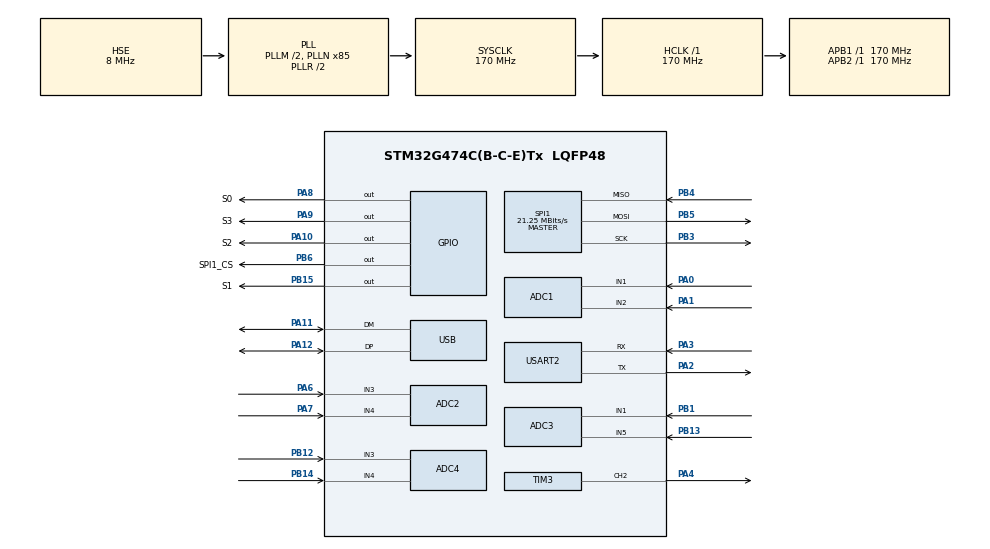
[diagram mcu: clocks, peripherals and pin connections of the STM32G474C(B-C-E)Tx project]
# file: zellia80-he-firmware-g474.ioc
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ADC1.Channel-0\#ChannelRegularConversion=ADC_CHANNEL_1
ADC1.Channel-1\#ChannelRegularConversion=ADC_CHANNEL_2
ADC1.ContinuousConvMode=ENABLE
ADC1.DMAContinuousRequests=ENABLE
ADC1.NbrOfConversion=2
ADC1.NbrOfConversionFlag=1
ADC1.OffsetNumber-0\#ChannelRegularConversion=ADC_OFFSET_NONE
ADC1.OffsetNumber-1\#ChannelRegularConversion=ADC_OFFSET_NONE
ADC1.Rank-0\#ChannelRegularConversion=1
ADC1.Rank-1\#ChannelRegularConversion=2
ADC1.SamplingTime-0\#ChannelRegularConversion=ADC_SAMPLETIME_92CYCLES_5
ADC1.SamplingTime-1\#ChannelRegularConversion=ADC_SAMPLETIME_92CYCLES_5
ADC1.master=1
ADC2.Channel-0\#ChannelRegularConversion=ADC_CHANNEL_3
ADC2.Channel-1\#ChannelRegularConversion=ADC_CHANNEL_4
ADC2.ContinuousConvMode=ENABLE
ADC2.DMAContinuousRequests=ENABLE
ADC2.NbrOfConversion=2
ADC2.NbrOfConversionFlag=1
ADC2.OffsetNumber-0\#ChannelRegularConversion=ADC_OFFSET_NONE
ADC2.OffsetNumber-1\#ChannelRegularConversion=ADC_OFFSET_NONE
ADC2.Rank-0\#ChannelRegularConversion=1
ADC2.Rank-1\#ChannelRegularConversion=2
ADC2.SamplingTime-0\#ChannelRegularConversion=ADC_SAMPLETIME_92CYCLES_5
ADC2.SamplingTime-1\#ChannelRegularConversion=ADC_SAMPLETIME_92CYCLES_5
ADC3.Channel-0\#ChannelRegularConversion=ADC_CHANNEL_1
ADC3.Channel-1\#ChannelRegularConversion=ADC_CHANNEL_5
ADC3.ContinuousConvMode=ENABLE
ADC3.DMAContinuousRequests=ENABLE
ADC3.NbrOfConversion=2
ADC3.NbrOfConversionFlag=1
ADC3.OffsetNumber-0\#ChannelRegularConversion=ADC_OFFSET_NONE
ADC3.OffsetNumber-1\#ChannelRegularConversion=ADC_OFFSET_NONE
ADC3.OversamplingMode=DISABLE
ADC3.Rank-0\#ChannelRegularConversion=1
ADC3.Rank-1\#ChannelRegularConversion=2
ADC3.SamplingTime-0\#ChannelRegularConversion=ADC_SAMPLETIME_92CYCLES_5
ADC3.SamplingTime-1\#ChannelRegularConversion=ADC_SAMPLETIME_92CYCLES_5
ADC3.master=1
ADC4.Channel-0\#ChannelRegularConversion=ADC_CHANNEL_3
ADC4.Channel-1\#ChannelRegularConversion=ADC_CHANNEL_4
ADC4.ContinuousConvMode=ENABLE
ADC4.DMAContinuousRequests=ENABLE
ADC4.NbrOfConversion=2
ADC4.NbrOfConversionFlag=1
ADC4.OffsetNumber-0\#ChannelRegularConversion=ADC_OFFSET_NONE
ADC4.OffsetNumber-1\#ChannelRegularConversion=ADC_OFFSET_NONE
ADC4.Rank-0\#ChannelRegularConversion=1
ADC4.Rank-1\#ChannelRegularConversion=2
ADC4.SamplingTime-0\#ChannelRegularConversion=ADC_SAMPLETIME_92CYCLES_5
ADC4.SamplingTime-1\#ChannelRegularConversion=ADC_SAMPLETIME_92CYCLES_5
Dma.ADC1.1.Direction=DMA_PERIPH_TO_MEMORY
Dma.ADC1.1.EventEnable=DISABLE
Dma.ADC1.1.Instance=DMA1_Channel2
Dma.ADC1.1.MemDataAlignment=DMA_MDATAALIGN_WORD
Dma.ADC1.1.MemInc=DMA_MINC_ENABLE
Dma.ADC1.1.Mode=DMA_CIRCULAR
Dma.ADC1.1.PeriphDataAlignment=DMA_PDATAALIGN_WORD
Dma.ADC1.1.PeriphInc=DMA_PINC_DISABLE
Dma.ADC1.1.Polarity=HAL_DMAMUX_REQ_GEN_RISING
Dma.ADC1.1.Priority=DMA_PRIORITY_VERY_HIGH
Dma.ADC1.1.RequestNumber=1
Dma.ADC1.1.SignalID=NONE
Dma.ADC1.1.SyncEnable=DISABLE
Dma.ADC1.1.SyncPolarity=HAL_DMAMUX_SYNC_NO_EVENT
Dma.ADC1.1.SyncRequestNumber=1
Dma.ADC1.1.SyncSignalID=NONE
Dma.ADC2.2.Direction=DMA_PERIPH_TO_MEMORY
Dma.ADC2.2.EventEnable=DISABLE
Dma.ADC2.2.Instance=DMA1_Channel3
Dma.ADC2.2.MemDataAlignment=DMA_MDATAALIGN_WORD
Dma.ADC2.2.MemInc=DMA_MINC_ENABLE
Dma.ADC2.2.Mode=DMA_CIRCULAR
Dma.ADC2.2.PeriphDataAlignment=DMA_PDATAALIGN_WORD
Dma.ADC2.2.PeriphInc=DMA_PINC_DISABLE
Dma.ADC2.2.Polarity=HAL_DMAMUX_REQ_GEN_RISING
Dma.ADC2.2.Priority=DMA_PRIORITY_VERY_HIGH
Dma.ADC2.2.RequestNumber=1
Dma.ADC2.2.SignalID=NONE
Dma.ADC2.2.SyncEnable=DISABLE
Dma.ADC2.2.SyncPolarity=HAL_DMAMUX_SYNC_NO_EVENT
Dma.ADC2.2.SyncRequestNumber=1
Dma.ADC2.2.SyncSignalID=NONE
Dma.ADC3.3.Direction=DMA_PERIPH_TO_MEMORY
Dma.ADC3.3.EventEnable=DISABLE
Dma.ADC3.3.Instance=DMA1_Channel4
Dma.ADC3.3.MemDataAlignment=DMA_MDATAALIGN_WORD
Dma.ADC3.3.MemInc=DMA_MINC_ENABLE
Dma.ADC3.3.Mode=DMA_CIRCULAR
Dma.ADC3.3.PeriphDataAlignment=DMA_PDATAALIGN_WORD
Dma.ADC3.3.PeriphInc=DMA_PINC_DISABLE
Dma.ADC3.3.Polarity=HAL_DMAMUX_REQ_GEN_RISING
Dma.ADC3.3.Priority=DMA_PRIORITY_VERY_HIGH
Dma.ADC3.3.RequestNumber=1
Dma.ADC3.3.SignalID=NONE
Dma.ADC3.3.SyncEnable=DISABLE
Dma.ADC3.3.SyncPolarity=HAL_DMAMUX_SYNC_NO_EVENT
Dma.ADC3.3.SyncRequestNumber=1
Dma.ADC3.3.SyncSignalID=NONE
Dma.ADC4.4.Direction=DMA_PERIPH_TO_MEMORY
Dma.ADC4.4.EventEnable=DISABLE
Dma.ADC4.4.Instance=DMA1_Channel5
Dma.ADC4.4.MemDataAlignment=DMA_MDATAALIGN_WORD
Dma.ADC4.4.MemInc=DMA_MINC_ENABLE
Dma.ADC4.4.Mode=DMA_CIRCULAR
Dma.ADC4.4.PeriphDataAlignment=DMA_PDATAALIGN_WORD
Dma.ADC4.4.PeriphInc=DMA_PINC_DISABLE
Dma.ADC4.4.Polarity=HAL_DMAMUX_REQ_GEN_RISING
Dma.ADC4.4.Priority=DMA_PRIORITY_VERY_HIGH
Dma.ADC4.4.RequestNumber=1
Dma.ADC4.4.SignalID=NONE
Dma.ADC4.4.SyncEnable=DISABLE
Dma.ADC4.4.SyncPolarity=HAL_DMAMUX_SYNC_NO_EVENT
Dma.ADC4.4.SyncRequestNumber=1
Dma.ADC4.4.SyncSignalID=NONE
Dma.Request0=TIM3_CH2
Dma.Request1=ADC1
Dma.Request2=ADC2
Dma.Request3=ADC3
Dma.Request4=ADC4
Dma.TIM3_CH2.0.Direction=DMA_MEMORY_TO_PERIPH
Dma.TIM3_CH2.0.EventEnable=DISABLE
Dma.TIM3_CH2.0.Instance=DMA1_Channel1
Dma.TIM3_CH2.0.MemDataAlignment=DMA_MDATAALIGN_BYTE
Dma.TIM3_CH2.0.MemInc=DMA_MINC_ENABLE
Dma.TIM3_CH2.0.Mode=DMA_CIRCULAR
Dma.TIM3_CH2.0.PeriphDataAlignment=DMA_PDATAALIGN_WORD
Dma.TIM3_CH2.0.PeriphInc=DMA_PINC_DISABLE
Dma.TIM3_CH2.0.Polarity=HAL_DMAMUX_REQ_GEN_RISING
Dma.TIM3_CH2.0.Priority=DMA_PRIORITY_LOW
Dma.TIM3_CH2.0.RequestNumber=1
Dma.TIM3_CH2.0.SignalID=NONE
Dma.TIM3_CH2.0.SyncEnable=DISABLE
Dma.TIM3_CH2.0.SyncPolarity=HAL_DMAMUX_SYNC_NO_EVENT
Dma.TIM3_CH2.0.SyncRequestNumber=1
Dma.TIM3_CH2.0.SyncSignalID=NONE
Mcu.Family=STM32G4
Mcu.Name=STM32G474C(B-C-E)Tx
Mcu.Package=LQFP48
NVIC.PriorityGroup=NVIC_PRIORITYGROUP_4
NVIC.TIM2_IRQn=true\:5\:0\:true\:false\:true\:true\:true\:true
NVIC.TIM7_DAC_IRQn=true\:7\:0\:true\:false\:true\:true\:true\:true
NVIC.USB_LP_IRQn=true\:0\:0\:false\:false\:true\:true\:true\:true
PA0.Mode=IN1-Single-Ended
PA0.Signal=ADC1_IN1
PA1.Mode=IN2-Single-Ended
PA1.Signal=ADC1_IN2
PA10.GPIO_Label=S2
PA10.Signal=GPIO_Output
PA11.Mode=Device
PA11.Signal=USB_DM
PA12.Mode=Device
PA12.Signal=USB_DP
PA13.Mode=Serial_Wire
PA13.Signal=SYS_JTMS-SWDIO
PA14.Mode=Serial_Wire
PA14.Signal=SYS_JTCK-SWCLK
PA2.Mode=Asynchronous
PA2.Signal=USART2_TX
PA3.Mode=Asynchronous
PA3.Signal=USART2_RX
PA4.GPIO_Speed=GPIO_SPEED_FREQ_HIGH
PA4.Signal=S_TIM3_CH2
PA6.Mode=IN3-Single-Ended
PA6.Signal=ADC2_IN3
PA7.Mode=IN4-Single-Ended
PA7.Signal=ADC2_IN4
PA8.GPIO_Label=S0
PA8.Signal=GPIO_Output
PA9.GPIO_Label=S3
PA9.Signal=GPIO_Output
PB1.Mode=IN1-Single-Ended
PB1.Signal=ADC3_IN1
PB12.Mode=IN3-Single-Ended
PB12.Signal=ADC4_IN3
PB13.Mode=IN5-Single-Ended
PB13.Signal=ADC3_IN5
PB14.Mode=IN4-Single-Ended
PB14.Signal=ADC4_IN4
PB15.GPIO_Label=S1
PB15.Signal=GPIO_Output
PB3.Mode=Full_Duplex_Master
PB3.Signal=SPI1_SCK
PB4.Mode=Full_Duplex_Master
PB4.Signal=SPI1_MISO
PB5.Mode=Full_Duplex_Master
PB5.Signal=SPI1_MOSI
PB6.GPIO_Label=SPI1_CS
PB6.Signal=GPIO_Output
PF0-OSC_IN.Mode=HSE-External-Oscillator
PF0-OSC_IN.Signal=RCC_OSC_IN
PF1-OSC_OUT.Mode=HSE-External-Oscillator
PF1-OSC_OUT.Signal=RCC_OSC_OUT
ProjectManager.HeapSize=0x200
ProjectManager.StackSize=0x400
ProjectManager.TargetToolchain=CMake
RCC.ADC12Freq_Value=170000000
RCC.ADC345Freq_Value=170000000
RCC.AHBFreq_Value=170000000
RCC.APB1Freq_Value=170000000
RCC.APB1TimFreq_Value=170000000
RCC.APB2Freq_Value=170000000
RCC.APB2TimFreq_Value=170000000
RCC.CK48CLockSelection=RCC_USBCLKSOURCE_HSI48
RCC.CortexFreq_Value=170000000
RCC.EXTERNAL_CLOCK_VALUE=12288000
RCC.HCLKFreq_Value=170000000
RCC.HSE_VALUE=8000000
RCC.HSI48_VALUE=48000000
RCC.HSI_VALUE=16000000
RCC.LSE_VALUE=32768
RCC.PLLM=RCC_PLLM_DIV2
RCC.PLLN=85
RCC.PLLQ=RCC_PLLQ_DIV4
RCC.PLLSourceVirtual=RCC_PLLSOURCE_HSE
RCC.SYSCLKFreq_VALUE=170000000
RCC.SYSCLKSource=RCC_SYSCLKSOURCE_PLLCLK
RCC.USBFreq_Value=48000000
RCC.VCOOutputFreq_Value=340000000
SH.S_TIM3_CH2.0=TIM3_CH2,PWM Generation2 CH2
SPI1.BaudRatePrescaler=SPI_BAUDRATEPRESCALER_8
SPI1.CLKPhase=SPI_PHASE_2EDGE
SPI1.CLKPolarity=SPI_POLARITY_HIGH
SPI1.CalculateBaudRate=21.25 MBits/s
SPI1.DataSize=SPI_DATASIZE_8BIT
SPI1.Direction=SPI_DIRECTION_2LINES
SPI1.Mode=SPI_MODE_MASTER
SPI1.VirtualType=VM_MASTER
TIM2.PeriodNoDither=5313-1
TIM3.AutoReloadPreload=TIM_AUTORELOAD_PRELOAD_DISABLE
TIM3.Channel-PWM\ Generation2\ CH2=TIM_CHANNEL_2
TIM3.Dithering=Disable
TIM3.OCFastMode_PWM-PWM\ Generation2\ CH2=TIM_OCFAST_ENABLE
TIM3.PeriodNoDither=213-1
TIM3.Prescaler=0
TIM7.PeriodNoDither=10-1
TIM7.Prescaler=17000-1
USART2.VirtualMode-Asynchronous=VM_ASYNC
VP_SYS_VS_DBSignals.Mode=DisableDeadBatterySignals
VP_TIM2_VS_ClockSourceINT.Mode=Internal
VP_TIM3_VS_ClockSourceINT.Mode=Internal
VP_TIM7_VS_ClockSourceINT.Mode=Enable_Timer
board=custom

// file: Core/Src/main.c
/* USER CODE BEGIN Header */
/**
  ******************************************************************************
  * @file           : main.c
  * @brief          : Main program body
  ******************************************************************************
  * @attention
  *
  * Copyright (c) 2025 STMicroelectronics.
  * All rights reserved.
  *
  * This software is licensed under terms that can be found in the LICENSE file
  * in the root directory of this software component.
  * If no LICENSE file comes with this software, it is provided AS-IS.
  *
  ******************************************************************************
  */
/* USER CODE END Header */
#include "main.h"
#include "adc.h"
#include "dma.h"
#include "spi.h"
#include "tim.h"
#include "usart.h"
#include "usb.h"
#include "gpio.h"

/* USER CODE BEGIN Includes */
#include "stdbool.h"
#include "stdlib.h"
#include "analog.h"
#include "rgb.h"
#include "keyboard.h"
#include "keyboard_conf.h"
#include "math.h"
#include "lfs.h"
#include "command.h"
#include "keyboard_def.h"
#include "usbd_user.h"
#include "command.h"
#include "packet.h"
#include "sfud.h"

/* USER CODE END Includes */

/* USER CODE BEGIN PD */
#define rgb_start() HAL_TIM_PWM_Start_DMA(&htim3, TIM_CHANNEL_2, (uint32_t *)g_rgb_buffer, RGB_BUFFER_LENGTH);
#define rgb_stop() HAL_TIM_PWM_Stop_DMA(&htim3, TIM_CHANNEL_2);

#define DMA_BUF_LEN             8
/* USER CODE END PD */

/* USER CODE BEGIN PV */
sfud_flash sfud_norflash0 = {
  .name = "norflash0",
  .spi.name = "SPI1",
  .chip = {"W25Q128JV", SFUD_MF_ID_WINBOND, 0x40, 0x18, 16L * 1024L * 1024L, SFUD_WM_PAGE_256B, 4096, 0x20},
};

uint32_t ADC_Buffer[4*DMA_BUF_LEN];
/* USER CODE END PV */

void SystemClock_Config(void);

/* USER CODE BEGIN 0 */

// 重定向print start
#if defined (__ARMCC_VERSION) /* ARM Compiler */
int fputc(int ch, FILE *f)
{
  while ((USART1->ISR & USART_ISR_TXE) == 0)
      ;
  USART1->TDR = ch;
  return ch;
}
#elif defined ( __GNUC__ ) && !defined (__CC_ARM) /* GNU Compiler */
//_write函數在syscalls.c中， 使用__weak定义以可以直接在其他文件中定义_write函數
__attribute__((weak)) int _write(int file, char *ptr, int len)
{
  UNUSED(file);
  if (HAL_UART_Transmit(&huart2, (uint8_t*)ptr, len, 0xffff) != HAL_OK)
  {
    Error_Handler();
  }
  return HAL_OK;
}
#endif
// 重定向print end

/**
 * @brief  初始化时间戳
 * @note   使用延时函数前，必须调用本函数
 */
int DWT_Init(void)
{
  /* Disable TRC */
  CoreDebug->DEMCR &= ~CoreDebug_DEMCR_TRCENA_Msk; // ~0x01000000;
  /* Enable TRC */
  CoreDebug->DEMCR |= CoreDebug_DEMCR_TRCENA_Msk; // 0x01000000;

  /* Disable clock cycle counter */
  DWT->CTRL &= ~DWT_CTRL_CYCCNTENA_Msk; //~0x00000001;
  /* Enable  clock cycle counter */
  DWT->CTRL |= DWT_CTRL_CYCCNTENA_Msk; // 0x00000001;

  /* Reset the clock cycle counter value */
  DWT->CYCCNT = 0;

  /* 3 NO OPERATION instructions */
  __ASM volatile("NOP");
  __ASM volatile("NOP");
  __ASM volatile("NOP");

  /* Check if clock cycle counter has started */
  if (DWT->CYCCNT)
  {
    return 0; /*clock cycle counter started*/
  }
  else
  {
    return 1; /*clock cycle counter not started*/
  }
}
// This Function Provides Delay In Microseconds Using DWT

void DWT_Delay_us(volatile uint32_t au32_microseconds)
{
  uint32_t au32_initial_ticks = DWT->CYCCNT;
  uint32_t au32_ticks = (HAL_RCC_GetHCLKFreq() / 1000000);
  au32_microseconds *= au32_ticks;
  while ((DWT->CYCCNT - au32_initial_ticks) < au32_microseconds - au32_ticks)
    ;
}

void (*SysMemBootJump)(void);
__IO uint32_t BootAddr = 0x1FFFD800; /* BootLoader 地址 */

void JumpToBootloader(void)
{
  uint32_t i = 0;

  /* 关闭全局中断 */
  __set_PRIMASK(1);

  /* 关闭滴答定时器，复位到默认值 */
  SysTick->CTRL = 0;
  SysTick->LOAD = 0;
  SysTick->VAL = 0;

  /* 设置所有时钟到默认状态，使用HSI时钟 */
  HAL_RCC_DeInit();

  /* 关闭所有中断，清除所有中断挂起标志 */
  for (i = 0; i < 8; i++)
  {
    NVIC->ICER[i] = 0xFFFFFFFF;
    NVIC->ICPR[i] = 0xFFFFFFFF;
  }

  /* 使能全局中断 */
  __set_PRIMASK(0);

  /* 跳转到系统BootLoader，首地址是MSP，地址+4是复位中断服务程序地址 */
  SysMemBootJump = (void (*)(void))(*((uint32_t *)(BootAddr + 4)));

  /* 设置主堆栈指针 */
  __set_MSP(*(uint32_t *)BootAddr);

  /* 跳转到系统BootLoader */
  SysMemBootJump();

  /* 跳转成功的话，不会执行到这里，用户可以在这里添加代码 */
  while (1)
  {
  }
}

void usb_dc_low_level_init(void)
{
  RCC_PeriphCLKInitTypeDef PeriphClkInit = {0};
  /* USER CODE BEGIN USB_MspInit 0 */

  /* USER CODE END USB_MspInit 0 */

  /** Initializes the peripherals clocks
  */
  PeriphClkInit.PeriphClockSelection = RCC_PERIPHCLK_USB;
  PeriphClkInit.UsbClockSelection = RCC_USBCLKSOURCE_HSI48;
  if (HAL_RCCEx_PeriphCLKConfig(&PeriphClkInit) != HAL_OK)
  {
    Error_Handler();
  }
  /* USB clock enable */
  __HAL_RCC_USB_CLK_ENABLE();
  /* USB interrupt Init */
  HAL_NVIC_SetPriority(USB_LP_IRQn, 0, 0);
  HAL_NVIC_EnableIRQ(USB_LP_IRQn);
  /* USER CODE BEGIN USB_MspInit 1 */

  /* USER CODE END USB_MspInit 1 */
}
/* USER CODE END 0 */

int main(void)
{

  /* MCU Configuration--------------------------------------------------------*/

  /* Reset of all peripherals, Initializes the Flash interface and the Systick. */
  HAL_Init();

  /* Configure the system clock */
  SystemClock_Config();

  /* Initialize all configured peripherals */
  MX_GPIO_Init();
  MX_DMA_Init();
  MX_SPI1_Init();
  MX_ADC1_Init();
  MX_ADC2_Init();
  MX_ADC3_Init();
  MX_ADC4_Init();
  MX_TIM3_Init();
  MX_USART2_UART_Init();
  MX_TIM2_Init();
  MX_TIM7_Init();
  /* USER CODE BEGIN 2 */
  DWT_Init();
  sfud_device_init(&sfud_norflash0);
  usb_init();
  keyboard_init();

  HAL_ADCEx_Calibration_Start(&hadc1, ADC_SINGLE_ENDED);
  HAL_ADCEx_Calibration_Start(&hadc2, ADC_SINGLE_ENDED);
  HAL_ADCEx_Calibration_Start(&hadc3, ADC_SINGLE_ENDED);
  HAL_ADCEx_Calibration_Start(&hadc4, ADC_SINGLE_ENDED);
  rgb_start();
  rgb_init_flash();

  HAL_ADC_Start_DMA(&hadc1, ADC_Buffer + DMA_BUF_LEN*0, DMA_BUF_LEN);
  HAL_ADC_Start_DMA(&hadc2, ADC_Buffer + DMA_BUF_LEN*1, DMA_BUF_LEN);
  HAL_ADC_Start_DMA(&hadc3, ADC_Buffer + DMA_BUF_LEN*2, DMA_BUF_LEN);
  HAL_ADC_Start_DMA(&hadc4, ADC_Buffer + DMA_BUF_LEN*3, DMA_BUF_LEN);

  HAL_TIM_Base_Start_IT(&htim2);

  HAL_Delay(100);

  analog_reset_range();

  HAL_TIM_Base_Start_IT(&htim7);
  /* USER CODE END 2 */

  /* Infinite loop */
  /* USER CODE BEGIN WHILE */
  while (1)
  {
    rgb_update();
    /* USER CODE END WHILE */

  }
}

void SystemClock_Config(void)
{
  RCC_OscInitTypeDef RCC_OscInitStruct = {0};
  RCC_ClkInitTypeDef RCC_ClkInitStruct = {0};

  /** Configure the main internal regulator output voltage
  */
  HAL_PWREx_ControlVoltageScaling(PWR_REGULATOR_VOLTAGE_SCALE1_BOOST);

  /** Initializes the RCC Oscillators according to the specified parameters
  * in the RCC_OscInitTypeDef structure.
  */
  RCC_OscInitStruct.OscillatorType = RCC_OSCILLATORTYPE_HSI48|RCC_OSCILLATORTYPE_HSE;
  RCC_OscInitStruct.HSEState = RCC_HSE_ON;
  RCC_OscInitStruct.HSI48State = RCC_HSI48_ON;
  RCC_OscInitStruct.PLL.PLLState = RCC_PLL_ON;
  RCC_OscInitStruct.PLL.PLLSource = RCC_PLLSOURCE_HSE;
  RCC_OscInitStruct.PLL.PLLM = RCC_PLLM_DIV2;
  RCC_OscInitStruct.PLL.PLLN = 85;
  RCC_OscInitStruct.PLL.PLLP = RCC_PLLP_DIV2;
  RCC_OscInitStruct.PLL.PLLQ = RCC_PLLQ_DIV4;
  RCC_OscInitStruct.PLL.PLLR = RCC_PLLR_DIV2;
  if (HAL_RCC_OscConfig(&RCC_OscInitStruct) != HAL_OK)
  {
    Error_Handler();
  }

  /** Initializes the CPU, AHB and APB buses clocks
  */
  RCC_ClkInitStruct.ClockType = RCC_CLOCKTYPE_HCLK|RCC_CLOCKTYPE_SYSCLK
                              |RCC_CLOCKTYPE_PCLK1|RCC_CLOCKTYPE_PCLK2;
  RCC_ClkInitStruct.SYSCLKSource = RCC_SYSCLKSOURCE_PLLCLK;
  RCC_ClkInitStruct.AHBCLKDivider = RCC_SYSCLK_DIV1;
  RCC_ClkInitStruct.APB1CLKDivider = RCC_HCLK_DIV1;
  RCC_ClkInitStruct.APB2CLKDivider = RCC_HCLK_DIV1;

  if (HAL_RCC_ClockConfig(&RCC_ClkInitStruct, FLASH_LATENCY_4) != HAL_OK)
  {
    Error_Handler();
  }
}

/* USER CODE BEGIN 4 */

void HAL_TIM_PeriodElapsedCallback(TIM_HandleTypeDef *htim)
{
  if (htim->Instance == TIM7)
  {
    keyboard_scan();
    for (uint8_t i = 0; i < ANALOG_BUFFER_LENGTH; i++)
    {
        g_ADC_Averages[i] = ringbuf_avg(&adc_ringbuf[i]);
#ifdef ENABLE_FILTER
        g_ADC_Averages[i] = adaptive_schimidt_filter(g_analog_filters+i,g_ADC_Averages[i]);
#endif
      if ((uint16_t)~g_analog_map[i])
      {
        AdvancedKey* key = &g_keyboard_advanced_keys[g_analog_map[i]];
        if (key->config.mode != KEY_DIGITAL_MODE)
        {
            advanced_key_update_raw(key, g_ADC_Averages[i]);
        }
      }
    }
    switch (g_keyboard_state)
    {
    case KEYBOARD_STATE_DEBUG:
      send_debug_info();
      break;
    case KEYBOARD_STATE_UPLOAD_CONFIG:
      if (!load_cargo())
      {
        g_keyboard_state = KEYBOARD_STATE_IDLE;
      }
      break;
    default:
      keyboard_send_report();
      break;
    }
  }
  if (htim->Instance == TIM2)
  {
    static uint32_t adc[8] = {0};
    memset(adc, 0 ,sizeof(adc));
    for (int i = 0; i < DMA_BUF_LEN/2; i++)
    {
      adc[0] += ADC_Buffer[DMA_BUF_LEN * 0 + i * 2];
      adc[1] += ADC_Buffer[DMA_BUF_LEN * 0 + i * 2 + 1];
      adc[2] += ADC_Buffer[DMA_BUF_LEN * 1 + i * 2];
      adc[3] += ADC_Buffer[DMA_BUF_LEN * 1 + i * 2 + 1];
      adc[4] += ADC_Buffer[DMA_BUF_LEN * 2 + i * 2];
      adc[5] += ADC_Buffer[DMA_BUF_LEN * 2 + i * 2 + 1];
      adc[6] += ADC_Buffer[DMA_BUF_LEN * 3 + i * 2];
      adc[7] += ADC_Buffer[DMA_BUF_LEN * 3 + i * 2 + 1];
    }

    ringbuf_push(&adc_ringbuf[0 + ADDRESS * 8], (float)adc[0] * (1/((float)DMA_BUF_LEN/2)));
    ringbuf_push(&adc_ringbuf[1 + ADDRESS * 8], (float)adc[1] * (1/((float)DMA_BUF_LEN/2)));
    ringbuf_push(&adc_ringbuf[2 + ADDRESS * 8], (float)adc[2] * (1/((float)DMA_BUF_LEN/2)));
    ringbuf_push(&adc_ringbuf[3 + ADDRESS * 8], (float)adc[3] * (1/((float)DMA_BUF_LEN/2)));
    ringbuf_push(&adc_ringbuf[4 + ADDRESS * 8], (float)adc[4] * (1/((float)DMA_BUF_LEN/2)));
    ringbuf_push(&adc_ringbuf[5 + ADDRESS * 8], (float)adc[5] * (1/((float)DMA_BUF_LEN/2)));
    ringbuf_push(&adc_ringbuf[6 + ADDRESS * 8], (float)adc[6] * (1/((float)DMA_BUF_LEN/2)));
    ringbuf_push(&adc_ringbuf[7 + ADDRESS * 8], (float)adc[7] * (1/((float)DMA_BUF_LEN/2)));

    if (htim->Instance->CNT < 1000)
    {
      g_analog_active_channel++;
      if (g_analog_active_channel >= ANALOG_CHANNEL_MAX)
      {
        g_analog_active_channel = 0;
      }
      analog_channel_select(g_analog_active_channel);
    }
  }
}

void rgb_update_callback()
{
	if(g_keyboard_led_state&BIT(1))
  {
	  g_rgb_colors[g_rgb_mapping[51]].r = 0xff;
	  g_rgb_colors[g_rgb_mapping[51]].g = 0xff;
	  g_rgb_colors[g_rgb_mapping[51]].b = 0xff;//cap lock
	}
	if(g_keyboard_led_state&BIT(2))
  {
	  g_rgb_colors[g_rgb_mapping[15]].r = 0xff;
	  g_rgb_colors[g_rgb_mapping[15]].g = 0xff;
	  g_rgb_colors[g_rgb_mapping[15]].b = 0xff;//cap lock
	}
}

/* USER CODE END 4 */

void Error_Handler(void)
{
  __disable_irq();
  while (1)
  {
  }
}
